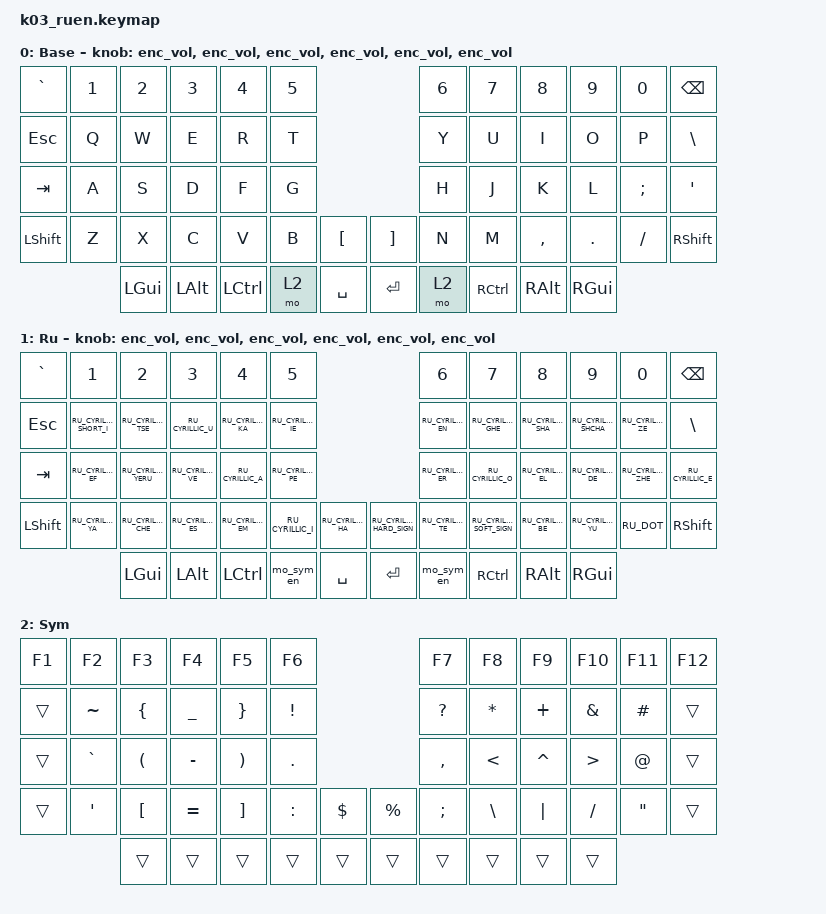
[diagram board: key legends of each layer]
#include "keys_ru.h"
#include <behaviors.dtsi>
#include <dt-bindings/zmk/keys.h>

/ {
    behaviors {
        enc_vol: enc_vol {
            compatible = "zmk,behavior-sensor-rotate";
            label = "ENC_VOL";
            #sensor-binding-cells = <0>;
            bindings = <&kp C_VOL_UP>, <&kp C_VOL_DN>;
        };
    };

    combos {
        compatible = "zmk,combos";

        cmben {
            bindings = <&layer_en>;
            key-positions = <15 16>;
            layers = <1>;
        };

        cmbru {
            bindings = <&layer_ru>;
            key-positions = <3 4>;
            layers = <0>;
        };
    };

    macros {
        to_ru: to_ru {
            compatible = "zmk,behavior-macro";
            #binding-cells = <0>;
            bindings = <&kp LC(LS(NUMBER_5))>;
            label = "TO_RU";
            tap-ms = <30>;
        };

        to_en: to_en {
            compatible = "zmk,behavior-macro";
            #binding-cells = <0>;
            bindings = <&kp LC(LS(N6))>;
            label = "TO_EN";
            tap-ms = <30>;
        };

        layer_en: layer_en {
            compatible = "zmk,behavior-macro";
            #binding-cells = <0>;
            bindings = <&to 0 &to_en>;
            label = "LAYER_EN";
            wait-ms = <0>;
            tap-ms = <30>;
        };

        layer_ru: layer_ru {
            compatible = "zmk,behavior-macro";
            #binding-cells = <0>;
            bindings = <&to 1 &to_ru>;
            label = "LAYER_RU";
            tap-ms = <30>;
            wait-ms = <0>;
        };

        en: en {
            compatible = "zmk,behavior-macro-one-param";
            #binding-cells = <1>;
            bindings =
                <&to_en>,
                <&macro_press>,
                <&macro_param_1to1 &kp MACRO_PLACEHOLDER>,
                <&macro_pause_for_release>,
                <&macro_release>,
                <&macro_param_1to1 &kp MACRO_PLACEHOLDER>,
                <&macro_tap>,
                <&to_ru>;

            label = "EN";
            wait-ms = <0>;
            tap-ms = <30>;
        };

        mo_sym_en: mo2_en {
            compatible = "zmk,behavior-macro";
            #binding-cells = <0>;
            bindings =
                <&to_en>,
                <&macro_press>,
                <&mo 2>,
                <&macro_pause_for_release>,
                <&macro_release>,
                <&mo 2>,
                <&macro_tap>,
                <&to_ru>;

            label = "MO2_EN";
        };
    };

    keymap {
        compatible = "zmk,keymap";

        en {
            bindings = <
&kp GRAVE  &kp N1  &kp N2    &kp N3    &kp N4     &kp N5                          &kp N6  &kp N7     &kp N8     &kp N9    &kp N0    &kp BSPC
&kp ESC    &kp Q   &kp W     &kp E     &kp R      &kp T                           &kp Y   &kp U      &kp I      &kp O     &kp P     &kp BSLH
&kp TAB    &kp A   &kp S     &kp D     &kp F      &kp G                           &kp H   &kp J      &kp K      &kp L     &kp SEMI  &kp SQT
&kp LSHFT  &kp Z   &kp X     &kp C     &kp V      &kp B   &kp LBKT     &kp RBKT   &kp N   &kp M      &kp COMMA  &kp DOT   &kp FSLH  &kp RSHFT
                   &kp LGUI  &kp LALT  &kp LCTRL  &mo 2   &kp SPACE    &kp ENTER  &mo 2   &kp RCTRL  &kp RALT   &kp RGUI
            >;

            display-name = "Base";
            sensor-bindings =
                <&enc_vol>,
                <&enc_vol>,
                <&enc_vol>,
                <&enc_vol>,
                <&enc_vol>,
                <&enc_vol>;
        };

        ru {
            display-name = "Ru";
            bindings = <
&kp GRAVE  &kp N1                   &kp N2                &kp N3              &kp N4              &kp N5                                                               &kp N6              &kp N7                     &kp N8               &kp N9                 &kp N0               &kp BSPC
&kp ESC    &kp RU_CYRILLIC_SHORT_I  &kp RU_CYRILLIC_TSE   &kp RU_CYRILLIC_U   &kp RU_CYRILLIC_KA  &kp RU_CYRILLIC_IE                                                   &kp RU_CYRILLIC_EN  &kp RU_CYRILLIC_GHE        &kp RU_CYRILLIC_SHA  &kp RU_CYRILLIC_SHCHA  &kp RU_CYRILLIC_ZE   &kp BSLH
&kp TAB    &kp RU_CYRILLIC_EF       &kp RU_CYRILLIC_YERU  &kp RU_CYRILLIC_VE  &kp RU_CYRILLIC_A   &kp RU_CYRILLIC_PE                                                   &kp RU_CYRILLIC_ER  &kp RU_CYRILLIC_O          &kp RU_CYRILLIC_EL   &kp RU_CYRILLIC_DE     &kp RU_CYRILLIC_ZHE  &kp RU_CYRILLIC_E
&kp LSHFT  &kp RU_CYRILLIC_YA       &kp RU_CYRILLIC_CHE   &kp RU_CYRILLIC_ES  &kp RU_CYRILLIC_EM  &kp RU_CYRILLIC_I   &kp RU_CYRILLIC_HA    &kp RU_CYRILLIC_HARD_SIGN  &kp RU_CYRILLIC_TE  &kp RU_CYRILLIC_SOFT_SIGN  &kp RU_CYRILLIC_BE   &kp RU_CYRILLIC_YU     &kp RU_DOT           &kp RSHFT
                                    &kp LGUI              &kp LALT            &kp LCTRL           &mo_sym_en          &kp SPACE             &kp ENTER                  &mo_sym_en          &kp RCTRL                  &kp RALT             &kp RGUI
            >;

            sensor-bindings =
                <&enc_vol>,
                <&enc_vol>,
                <&enc_vol>,
                <&enc_vol>,
                <&enc_vol>,
                <&enc_vol>;
        };

        Sym_en {
            bindings = <
&kp F1  &kp F2     &kp F3                &kp F4     &kp F5                 &kp F6                              &kp F7     &kp F8         &kp F9     &kp F10           &kp F11      &kp F12
&trans  &kp TILDE  &kp LEFT_BRACE        &kp UNDER  &kp RIGHT_BRACE        &kp EXCL                            &kp QMARK  &kp ASTRK      &kp PLUS   &kp AMPS          &kp HASH     &trans
&trans  &kp GRAVE  &kp LEFT_PARENTHESIS  &kp MINUS  &kp RIGHT_PARENTHESIS  &kp DOT                             &kp COMMA  &kp LESS_THAN  &kp CARET  &kp GREATER_THAN  &kp AT_SIGN  &trans
&trans  &kp SQT    &kp LEFT_BRACKET      &kp EQUAL  &kp RIGHT_BRACKET      &kp COLON  &kp DOLLAR    &kp PRCNT  &kp SEMI   &kp BSLH       &kp PIPE   &kp FSLH          &kp DQT      &trans
                   &trans                &trans     &trans                 &trans     &trans        &trans     &trans     &trans         &trans     &trans
            >;

            display-name = "Sym";
        };
    };
};
